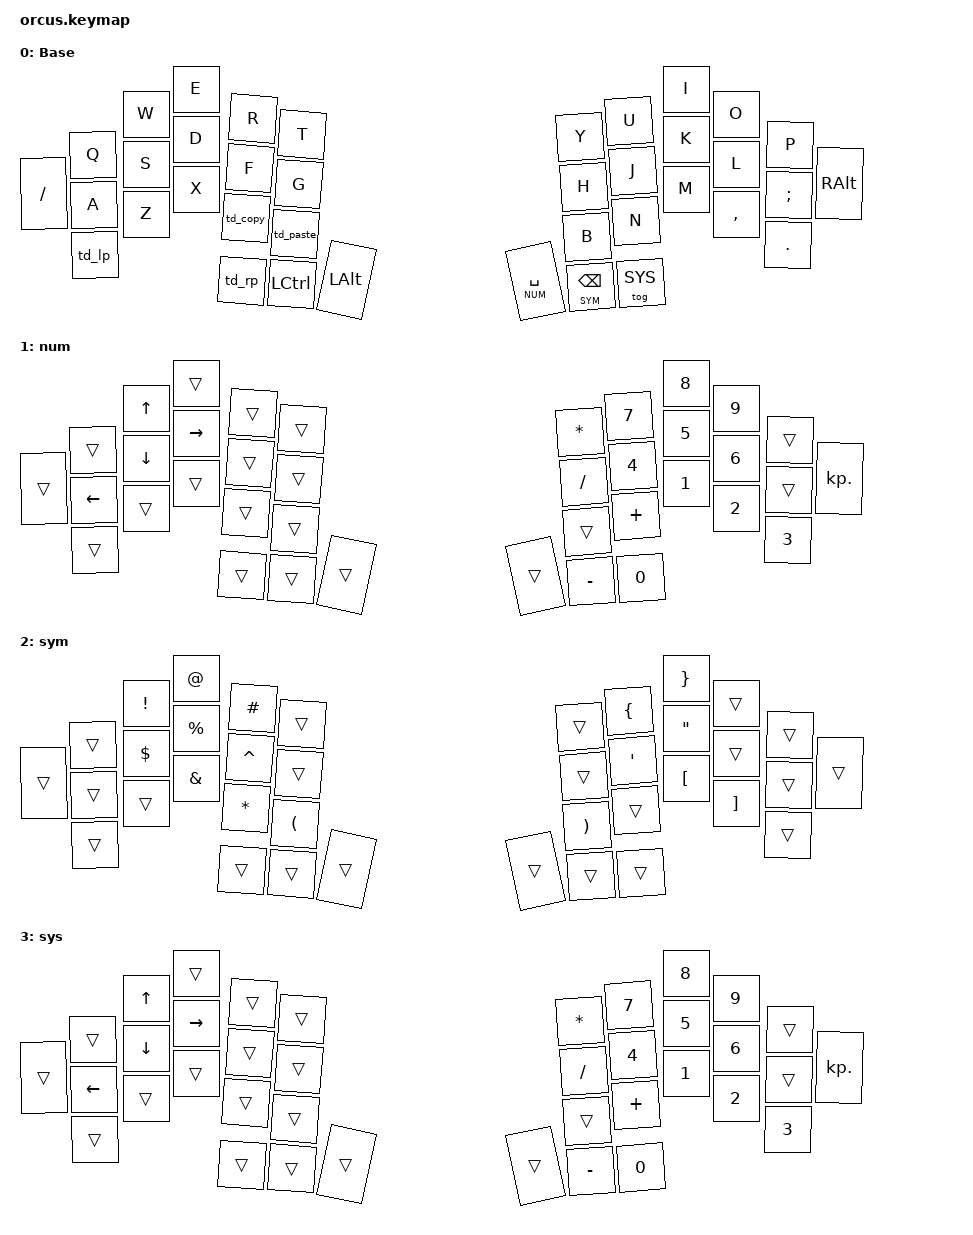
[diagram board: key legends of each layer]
#include <behaviors.dtsi>
#include <dt-bindings/zmk/keys.h>
#include <dt-bindings/zmk/bt.h>
#include <dt-bindings/zmk/outputs.h>

#define DEFAULT 0
#define NUM     1
#define SYM     2
#define SYS     3


/ {     
        behaviors {
                td_lp: tap_dance_left_pinky {
                        compatible = "zmk,behavior-tap-dance";
                        #binding-cells = <0>;
                        tapping-term-ms = <200>;
                        bindings = <&mt LSHIFT TAB>, <&kp ESC>;
                };

                td_rp: tap_dance_right_pinky {
                        compatible = "zmk,behavior-tap-dance";
                        #binding-cells = <0>;
                        tapping-term-ms = <200>;
                        bindings = <&mt RSHIFT ENTER>, <&kp DEL>;
                };

                td_copy: tap_dance_copy{
                        compatible = "zmk,behavior-tap-dance";
                        #binding-cells = <0>;
                        tapping-term-ms = <200>;
                        bindings = < &kp C &macro_ctrl_c >;
                };

                td_paste: tap_dance_paste{
                        compatible = "zmk,behavior-tap-dance";
                        #binding-cells = <0>;
                        tapping-term-ms = <200>;
                        bindings = < &kp V &macro_ctrl_v >;
                };

                macro_ctrl_c: ctrl_c_macro {
                        compatible = "zmk,behavior-macro";
                        label = "CTRL+C";
                        #binding-cells = <0>;
                        bindings = < &kp LCTRL &kp C >;
                };

                macro_ctrl_v: ctrl_v_macro {
                        compatible = "zmk,behavior-macro";
                        label = "CTRL+V";
                        #binding-cells = <0>;
                        bindings = < &kp LCTRL &kp V >;
                };
        };

        conditional_layers {
                compatible = "zmk,conditional-layers";
                tri_layer {
                        if-layers = <1 2>;
                        then-layer = <3>;
                };
        };
           
        keymap {
                compatible = "zmk,keymap";

                default_layer {
// ┏━━━━━━━━━━━━━━━━━━━━━━━━━━━━━━━━━━━━━━━┓
display-name = "Base"                      ;
// ┗━━━━━━━━━━━━━━━━━━━━━━━━━━━━━━━━━━━━━━━┛
//             ┏━━━━━━━━━━━┳━━━━━━━━━━━┳━━━━━━━━━━━┳━━━━━━━━━━━┳━━━━━━━━━━━┓   ┏━━━━━━━━━━━┳━━━━━━━━━━━┳━━━━━━━━━━━┳━━━━━━━━━━━┳━━━━━━━━━━━┓
//             ┃     Q     ┃     W     ┃     E     ┃     R     ┃     T     ┃   ┃     Y     ┃     U     ┃     I     ┃     O     ┃     P     ┃   
//             ┣━━━━━━━━━━━┣━━━━━━━━━━━┣━━━━━━━━━━━╋━━━━━━━━━━━╋━━━━━━━━━━━┫   ┣━━━━━━━━━━━╋━━━━━━━━━━━╋━━━━━━━━━━━╋━━━━━━━━━━━┻━━━━━━━━━━━┫
//             ┃     A     ┃     S     ┃     D     ┃     F     ┃     G     ┃   ┃     H     ┃     J     ┃     K     ┃     L     ┃     ;     ┃    
// ┏━━━━━━━━━━━┣━━━━━━━━━━━┣━━━━━━━━━━━┣━━━━━━━━━━━╋━━━━━━━━━━━╋━━━━━━━━━━━┫   ┣━━━━━━━━━━━╋━━━━━━━━━━━╋━━━━━━━━━━━╋━━━━━━━━━━━╋━━━━━━━━━━━┫━━━━━━━━━━━┓
// ┃  td_lp    ┃     Z     ┃     X     ┃   C/COPY  ┃  V/PASTE  ┃     B     ┃   ┃     N     ┃     M     ┃     ,     ┃     .     ┃     /     ┃   td_rp   ┃
// ┗━━━━━━━━━━━┻━━━━━━━━━━━┻━━━━━━━━━━━┣━━━━━━━━━━━╋━━━━━━━━━━━╋━━━━━━━━━━━┫   ┣━━━━━━━━━━━╋━━━━━━━━━━━╋━━━━━━━━━━━╋━━━━━━━━━━━┻━━━━━━━━━━━┻━━━━━━━━━━━┛
//                                     ┃   LCTRL   ┃    LALT   ┃   SPACE   ┃   ┃    BSPC   ┃    SYM    ┃    SYS    ┃
//                                     ┗━━━━━━━━━━━┻━━━━━━━━━━━┻━━━━━━━━━━━┛   ┗━━━━━━━━━━━┻━━━━━━━━━━━┻━━━━━━━━━━━┛
 bindings = <
// ╷           ╷           ╷           ╷           ╷           ╷           ╷   ╷           ╷           ╷           ╷           ╷           ╷           ╷

                  &kp Q       &kp W       &kp E       &kp R       &kp T           &kp Y       &kp U       &kp I       &kp O       &kp P       
                  &kp A       &kp S       &kp D       &kp F       &kp G           &kp H       &kp J       &kp K       &kp L       &kp SEMI    
      &td_lp      &kp Z       &kp X       &td_copy    &td_paste   &kp B           &kp N       &kp M       &kp COMMA   &kp DOT     &kp SLASH   &td_rp
                                          &kp LCTRL   &kp LALT    &lt NUM SPACE   &lt SYM BSPC &tog SYS   &kp RALT   
                        >;
                };


                num {
// ┏━━━━━━━━━━━━━━━━━━━━━━━━━━━━━━━━━━━━━━━┓
display-name = "num"                      ;
// ┗━━━━━━━━━━━━━━━━━━━━━━━━━━━━━━━━━━━━━━━┛
//             ┏━━━━━━━━━━━┳━━━━━━━━━━━┳━━━━━━━━━━━┳━━━━━━━━━━━┳━━━━━━━━━━━┓   ┏━━━━━━━━━━━┳━━━━━━━━━━━┳━━━━━━━━━━━┳━━━━━━━━━━━┳━━━━━━━━━━━┓
//             ┃   trans   ┃     UP    ┃   trans   ┃   trans   ┃   trans   ┃   ┃     *     ┃     N7    ┃     N8    ┃     N9    ┃   trans   ┃   
//             ┣━━━━━━━━━━━┣━━━━━━━━━━━┣━━━━━━━━━━━╋━━━━━━━━━━━╋━━━━━━━━━━━┫   ┣━━━━━━━━━━━╋━━━━━━━━━━━╋━━━━━━━━━━━╋━━━━━━━━━━━┻━━━━━━━━━━━┫
//             ┃    LEFT   ┃    DOWN   ┃   RIGHT   ┃   trans   ┃   trans   ┃   ┃     /     ┃     N4    ┃     N5    ┃     N6    ┃   trans   ┃    
// ┏━━━━━━━━━━━┣━━━━━━━━━━━┣━━━━━━━━━━━┣━━━━━━━━━━━╋━━━━━━━━━━━╋━━━━━━━━━━━┫   ┣━━━━━━━━━━━╋━━━━━━━━━━━╋━━━━━━━━━━━╋━━━━━━━━━━━╋━━━━━━━━━━━┫━━━━━━━━━━━┓
// ┃   trans   ┃   trans   ┃   trans   ┃   trans   ┃   trans   ┃   trans   ┃   ┃     +     ┃     N1    ┃     N2    ┃     N3    ┃   trans   ┃   trans   ┃
// ┗━━━━━━━━━━━┻━━━━━━━━━━━┻━━━━━━━━━━━┣━━━━━━━━━━━╋━━━━━━━━━━━╋━━━━━━━━━━━┫   ┣━━━━━━━━━━━╋━━━━━━━━━━━╋━━━━━━━━━━━╋━━━━━━━━━━━┻━━━━━━━━━━━┻━━━━━━━━━━━┛
//                                     ┃   trans   ┃   trans   ┃   trans   ┃   ┃     -     ┃     N0    ┃   KP_DOT  ┃
//                                     ┗━━━━━━━━━━━┻━━━━━━━━━━━┻━━━━━━━━━━━┛   ┗━━━━━━━━━━━┻━━━━━━━━━━━┻━━━━━━━━━━━┛
 bindings = <
// ╷           ╷           ╷           ╷           ╷           ╷           ╷   ╷           ╷           ╷           ╷           ╷           ╷           ╷

                  &trans      &kp UP      &trans      &trans      &trans          &kp STAR    &kp N7      &kp N8      &kp N9      &trans     
                  &kp LEFT    &kp DOWN    &kp RIGHT   &trans      &trans          &kp FSLH    &kp N4      &kp N5      &kp N6      &trans  
      &trans      &trans      &trans      &trans      &trans      &trans          &kp PLUS    &kp N1      &kp N2      &kp N3      &trans      &trans  
                                          &trans      &trans      &trans          &kp MINUS   &kp N0      &kp KP_DOT   
                        >;
                };


                sym {
// ┏━━━━━━━━━━━━━━━━━━━━━━━━━━━━━━━━━━━━━━━┓
display-name = "sym"                      ;
// ┗━━━━━━━━━━━━━━━━━━━━━━━━━━━━━━━━━━━━━━━┛
//             ┏━━━━━━━━━━━┳━━━━━━━━━━━┳━━━━━━━━━━━┳━━━━━━━━━━━┳━━━━━━━━━━━┓   ┏━━━━━━━━━━━┳━━━━━━━━━━━┳━━━━━━━━━━━┳━━━━━━━━━━━┳━━━━━━━━━━━┓
//             ┃   trans   ┃     !     ┃     @     ┃     #     ┃   trans   ┃   ┃   trans   ┃     {     ┃     }     ┃   trans   ┃   trans   ┃   
//             ┣━━━━━━━━━━━┣━━━━━━━━━━━┣━━━━━━━━━━━╋━━━━━━━━━━━╋━━━━━━━━━━━┫   ┣━━━━━━━━━━━╋━━━━━━━━━━━╋━━━━━━━━━━━╋━━━━━━━━━━━┻━━━━━━━━━━━┫
//             ┃   trans   ┃     $     ┃     %     ┃     ^     ┃   trans   ┃   ┃   trans   ┃     '     ┃     "     ┃   trans   ┃   trans   ┃    
// ┏━━━━━━━━━━━┣━━━━━━━━━━━┣━━━━━━━━━━━┣━━━━━━━━━━━╋━━━━━━━━━━━╋━━━━━━━━━━━┫   ┣━━━━━━━━━━━╋━━━━━━━━━━━╋━━━━━━━━━━━╋━━━━━━━━━━━╋━━━━━━━━━━━┫━━━━━━━━━━━┓
// ┃   trans   ┃   trans   ┃     &     ┃     *     ┃     (     ┃     )     ┃   ┃   trans   ┃     [     ┃     ]     ┃   trans   ┃   trans   ┃   trans   ┃
// ┗━━━━━━━━━━━┻━━━━━━━━━━━┻━━━━━━━━━━━┣━━━━━━━━━━━╋━━━━━━━━━━━╋━━━━━━━━━━━┫   ┣━━━━━━━━━━━╋━━━━━━━━━━━╋━━━━━━━━━━━╋━━━━━━━━━━━┻━━━━━━━━━━━┻━━━━━━━━━━━┛
//                                     ┃   trans   ┃   trans   ┃   trans   ┃   ┃   trans   ┃   trans   ┃   trans   ┃
//                                     ┗━━━━━━━━━━━┻━━━━━━━━━━━┻━━━━━━━━━━━┛   ┗━━━━━━━━━━━┻━━━━━━━━━━━┻━━━━━━━━━━━┛
 bindings = <
// ╷           ╷           ╷           ╷           ╷           ╷           ╷   ╷           ╷           ╷           ╷           ╷           ╷           ╷

                  &trans      &kp EXCL    &kp AT      &kp HASH    &trans          &trans      &kp LBRC    &kp RBRC    &trans      &trans     
                  &trans      &kp DLLR    &kp PRCNT   &kp CARET   &trans          &trans      &kp APOS      &kp DQT      &trans     &trans  
      &trans      &trans      &kp AMPS    &kp STAR    &kp LPAR    &kp RPAR        &trans      &kp LBKT      &kp RBKT     &trans     &trans      &trans  
                                          &trans      &trans      &trans          &trans      &trans     &trans  
                        >;
                };


                sys {
// ┏━━━━━━━━━━━━━━━━━━━━━━━━━━━━━━━━━━━━━━━┓
display-name = "sys"                      ;
// ┗━━━━━━━━━━━━━━━━━━━━━━━━━━━━━━━━━━━━━━━┛
//             ┏━━━━━━━━━━━┳━━━━━━━━━━━┳━━━━━━━━━━━┳━━━━━━━━━━━┳━━━━━━━━━━━┓   ┏━━━━━━━━━━━┳━━━━━━━━━━━┳━━━━━━━━━━━┳━━━━━━━━━━━┳━━━━━━━━━━━┓
//             ┃     Q     ┃     W     ┃     E     ┃     R     ┃     T     ┃   ┃     Y     ┃     U     ┃     I     ┃     O     ┃     P     ┃   
//             ┣━━━━━━━━━━━┣━━━━━━━━━━━┣━━━━━━━━━━━╋━━━━━━━━━━━╋━━━━━━━━━━━┫   ┣━━━━━━━━━━━╋━━━━━━━━━━━╋━━━━━━━━━━━╋━━━━━━━━━━━┻━━━━━━━━━━━┫
//             ┃     A     ┃     S     ┃     D     ┃     F     ┃     G     ┃   ┃     H     ┃     J     ┃     K     ┃     L     ┃     ;     ┃    
// ┏━━━━━━━━━━━┣━━━━━━━━━━━┣━━━━━━━━━━━┣━━━━━━━━━━━╋━━━━━━━━━━━╋━━━━━━━━━━━┫   ┣━━━━━━━━━━━╋━━━━━━━━━━━╋━━━━━━━━━━━╋━━━━━━━━━━━╋━━━━━━━━━━━┫━━━━━━━━━━━┓
// ┃   LSHFT   ┃     Z     ┃     X     ┃     C     ┃     V     ┃     B     ┃   ┃     N     ┃     M     ┃     ,     ┃     .     ┃     /     ┃   RSHFT   ┃
// ┗━━━━━━━━━━━┻━━━━━━━━━━━┻━━━━━━━━━━━┣━━━━━━━━━━━╋━━━━━━━━━━━╋━━━━━━━━━━━┫   ┣━━━━━━━━━━━╋━━━━━━━━━━━╋━━━━━━━━━━━╋━━━━━━━━━━━┻━━━━━━━━━━━┻━━━━━━━━━━━┛
//                                     ┃   LCTRL   ┃    LALT   ┃   SPACE   ┃   ┃   ENTER   ┃    RALT   ┃   RCTRL   ┃
//                                     ┗━━━━━━━━━━━┻━━━━━━━━━━━┻━━━━━━━━━━━┛   ┗━━━━━━━━━━━┻━━━━━━━━━━━┻━━━━━━━━━━━┛
 bindings = <
// ╷           ╷           ╷           ╷           ╷           ╷           ╷   ╷           ╷           ╷           ╷           ╷           ╷           ╷

                  &trans      &kp UP      &trans      &trans      &trans          &kp STAR    &kp N7      &kp N8      &kp N9      &trans     
                  &kp LEFT    &kp DOWN    &kp RIGHT   &trans      &trans          &kp FSLH    &kp N4      &kp N5      &kp N6      &trans  
      &trans      &trans      &trans      &trans      &trans      &trans          &kp PLUS    &kp N1      &kp N2      &kp N3      &trans      &trans  
                                          &trans      &trans      &trans          &kp MINUS   &kp N0      &kp KP_DOT    
                        >;
                };
        };
};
